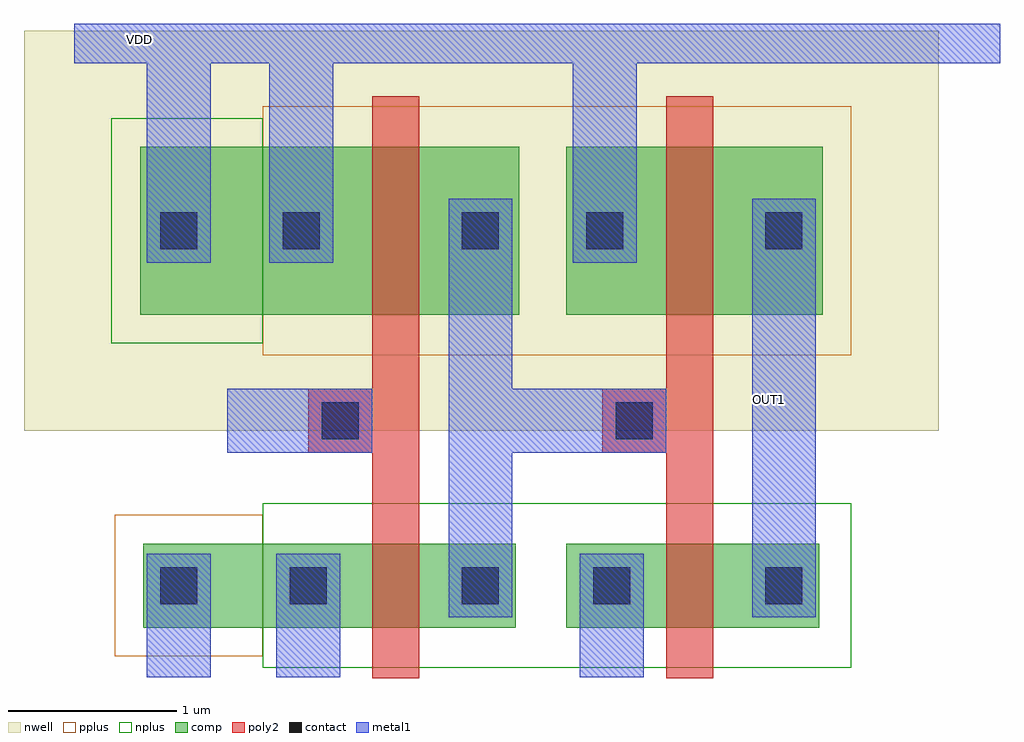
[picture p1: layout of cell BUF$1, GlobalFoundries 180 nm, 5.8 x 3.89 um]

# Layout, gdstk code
import gdstk
lib = gdstk.Library(unit=1e-6, precision=5e-09)
def R(c, l, rs):  # rectangles x0, y0, x1, y1
    for r in rs: c.add(gdstk.rectangle(r[:2], r[2:], *l))
nwell = (21, 0)
comp = (22, 0)
poly2 = (30, 0)
pplus = (31, 0)
nplus = (32, 0)
contact = (33, 0)
metal1 = (34, 0)

buf_1 = lib.new_cell('BUF$1')
R(buf_1, nwell, [(-1.98,-3.595,3.46,-1.215)])
R(buf_1, comp, [(-1.27,-4.765,-0.56,-4.265), (-0.56,-4.765,-0.08,-4.265), (-0.08,-4.765,0.525,-4.265), (0.525,-4.765,0.945,-4.265), (1.245,-4.765,1.725,-4.265), (1.725,-4.765,2.33,-4.265), (2.33,-4.765,2.75,-4.265), (-1.29,-2.905,-0.56,-1.905), (-0.56,-2.905,-0.1,-1.905), (-0.1,-2.905,0.505,-1.905), (0.505,-2.905,0.965,-1.905), (1.245,-2.905,1.705,-1.905), (1.705,-2.905,2.31,-1.905), (2.31,-2.905,2.77,-1.905)])
R(buf_1, poly2, [(0.09,-5.065,0.37,-1.605), (1.84,-5.065,2.12,-1.605), (-0.29,-3.725,0.09,-3.345), (1.46,-3.725,1.84,-3.345)])
R(buf_1, pplus, [(-1.44,-4.935,-0.56,-4.095), (-0.56,-3.145,1.19,-1.665), (1.19,-3.145,2.94,-1.665)])
R(buf_1, nplus, [(-0.56,-5.005,1.19,-4.025), (1.19,-5.005,2.94,-4.025), (-1.46,-3.075,-0.56,-1.735)])
R(buf_1, contact, [(-1.17,-4.625,-0.95,-4.405), (-0.4,-4.625,-0.18,-4.405), (0.625,-4.625,0.845,-4.405), (1.405,-4.625,1.625,-4.405), (2.43,-4.625,2.65,-4.405), (-0.21,-3.645,0.01,-3.425), (1.54,-3.645,1.76,-3.425), (-1.17,-2.515,-0.95,-2.295), (-0.44,-2.515,-0.22,-2.295), (0.625,-2.515,0.845,-2.295), (1.365,-2.515,1.585,-2.295), (2.43,-2.515,2.65,-2.295)])
R(buf_1, metal1, [(-1.25,-5.06,-0.87,-4.705), (-0.48,-5.06,-0.1,-4.705), (1.325,-5.06,1.705,-4.705), (-1.25,-4.705,-0.87,-4.325), (-0.48,-4.705,-0.1,-4.325), (0.545,-4.705,0.925,-4.325), (1.325,-4.705,1.705,-4.325), (2.35,-4.705,2.73,-4.325), (0.545,-4.325,0.925,-2.595), (2.35,-4.325,2.73,-2.595), (-0.77,-3.725,-0.29,-3.345), (-0.29,-3.725,0.09,-3.345), (0.925,-3.725,1.46,-3.345), (1.46,-3.725,1.84,-3.345), (-1.25,-2.595,-0.87,-2.215), (-0.52,-2.595,-0.14,-2.215), (0.545,-2.595,0.925,-2.215), (1.285,-2.595,1.665,-2.215), (2.35,-2.595,2.73,-2.215), (-1.25,-2.215,-0.87,-1.405), (-0.52,-2.215,-0.14,-1.405), (1.285,-2.215,1.665,-1.405), (-1.68,-1.41,3.825,-1.175)])
buf_1.add(gdstk.Label('VDD', (-1.295,-1.27), layer=34, texttype=10))
buf_1.add(gdstk.Label('OUT1', (2.455,-3.41), layer=34, texttype=10))

lib.write_gds('BUF_1.gds')
